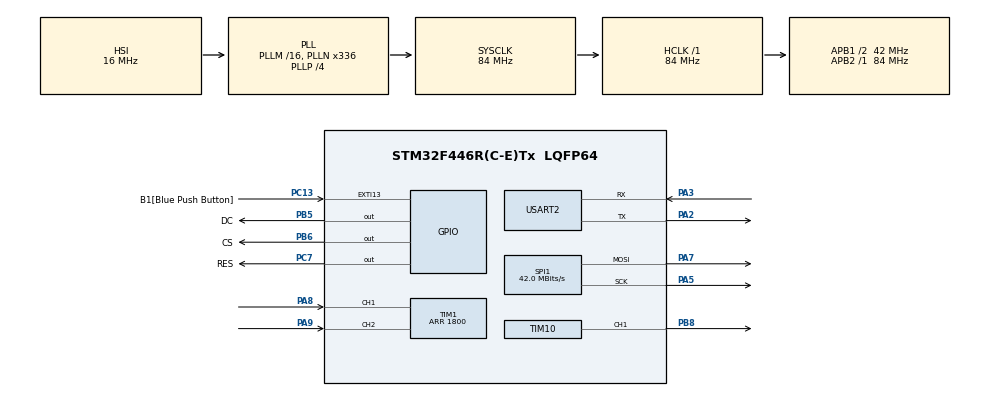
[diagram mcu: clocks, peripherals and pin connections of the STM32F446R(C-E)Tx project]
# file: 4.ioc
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Mcu.Family=STM32F4
Mcu.Name=STM32F446R(C-E)Tx
Mcu.Package=LQFP64
NVIC.PriorityGroup=NVIC_PRIORITYGROUP_0
PA13.Mode=Serial_Wire
PA13.Signal=SYS_JTMS-SWDIO
PA14.Mode=Serial_Wire
PA14.Signal=SYS_JTCK-SWCLK
PA2.Mode=Asynchronous
PA2.Signal=USART2_TX
PA3.Mode=Asynchronous
PA3.Signal=USART2_RX
PA5.Mode=TX_Only_Simplex_Unidirect_Master
PA5.Signal=SPI1_SCK
PA7.Mode=TX_Only_Simplex_Unidirect_Master
PA7.Signal=SPI1_MOSI
PA8.Signal=S_TIM1_CH1
PA9.Signal=S_TIM1_CH2
PB5.GPIO_Label=DC
PB5.Signal=GPIO_Output
PB6.GPIO_Label=CS
PB6.Signal=GPIO_Output
PB8.Signal=S_TIM10_CH1
PC13.GPIO_Label=B1[Blue Push Button]
PC13.GPIO_ModeDefaultEXTI=GPIO_MODE_IT_FALLING
PC13.Signal=GPXTI13
PC7.GPIO_Label=RES
PC7.Signal=GPIO_Output
PH0-OSC_IN.Mode=HSE-External-Oscillator
PH0-OSC_IN.Signal=RCC_OSC_IN
PH1-OSC_OUT.Mode=HSE-External-Oscillator
PH1-OSC_OUT.Signal=RCC_OSC_OUT
ProjectManager.HeapSize=0x200
ProjectManager.StackSize=0x400
ProjectManager.TargetToolchain=STM32CubeIDE
RCC.48MHZClocksFreq_Value=84000000
RCC.AHBFreq_Value=84000000
RCC.APB1CLKDivider=RCC_HCLK_DIV2
RCC.APB1Freq_Value=42000000
RCC.APB1TimFreq_Value=84000000
RCC.APB2Freq_Value=84000000
RCC.APB2TimFreq_Value=84000000
RCC.CortexFreq_Value=84000000
RCC.FLatency-AdvancedSettings=FLASH_LATENCY_2
RCC.HCLKFreq_Value=84000000
RCC.HSE_VALUE=8000000
RCC.HSI_VALUE=16000000
RCC.PLLN=336
RCC.PLLP=RCC_PLLP_DIV4
RCC.SYSCLKFreq_VALUE=84000000
RCC.SYSCLKSource=RCC_SYSCLKSOURCE_PLLCLK
RCC.USBFreq_Value=168000000
RCC.VCOOutputFreq_Value=336000000
SH.S_TIM10_CH1.0=TIM10_CH1,PWM Generation1 CH1
SH.S_TIM1_CH1.0=TIM1_CH1,Encoder_Interface
SH.S_TIM1_CH2.0=TIM1_CH2,Encoder_Interface
SPI1.CalculateBaudRate=42.0 MBits/s
SPI1.Direction=SPI_DIRECTION_2LINES
SPI1.Mode=SPI_MODE_MASTER
SPI1.VirtualType=VM_MASTER
TIM1.EncoderMode=TIM_ENCODERMODE_TI12
TIM1.IC1Filter=5
TIM1.IC2Filter=5
TIM1.Period=1800
TIM10.Channel=TIM_CHANNEL_1
TIM10.OCFastMode_PWM=TIM_OCFAST_ENABLE
TIM10.Period=18000
TIM10.Prescaler=1-1
TIM10.Pulse=9
USART2.VirtualMode=VM_ASYNC
VP_TIM10_VS_ClockSourceINT.Mode=Enable_Timer
board=NUCLEO-F446RE

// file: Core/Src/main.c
/* USER CODE BEGIN Header */
/**
  ******************************************************************************
  * @file           : main.c
  * @brief          : Main program body
  ******************************************************************************
  * @attention
  *
  * <h2><center>&copy; Copyright (c) 2020 STMicroelectronics.
  * All rights reserved.</center></h2>
  *
  * This software component is licensed by ST under BSD 3-Clause license,
  * the "License"; You may not use this file except in compliance with the
  * License. You may obtain a copy of the License at:
  *                        opensource.org/licenses/BSD-3-Clause
  *
  ******************************************************************************
  */
/* USER CODE END Header */

#include "main.h"

/* USER CODE BEGIN Includes */
#include "st7735.h"
#include "fonts.h"
#include <math.h>

/* USER CODE END Includes */

SPI_HandleTypeDef hspi1;

TIM_HandleTypeDef htim1;
TIM_HandleTypeDef htim10;

UART_HandleTypeDef huart2;

/* USER CODE BEGIN PV */
int nLoop = 0;
/* USER CODE END PV */

void SystemClock_Config(void);
static void MX_GPIO_Init(void);
static void MX_SPI1_Init(void);
static void MX_TIM1_Init(void);
static void MX_TIM10_Init(void);
static void MX_USART2_UART_Init(void);

int main(void)
{

  /* MCU Configuration--------------------------------------------------------*/

  /* Reset of all peripherals, Initializes the Flash interface and the Systick. */

	HAL_Init();

  /* Configure the system clock */
  SystemClock_Config();

  /* Initialize all configured peripherals */
  MX_GPIO_Init();
  MX_SPI1_Init();
  MX_TIM1_Init();
  MX_TIM10_Init();
  MX_USART2_UART_Init();
  HAL_TIM_PWM_Start(&htim10, TIM_CHANNEL_1);
    //HAL_TIM_Encoder_Start(&htim1, TIM_CHANNEL_1);
  HAL_TIM_Encoder_Start(&htim1, TIM_CHANNEL_1);
  /* USER CODE BEGIN 2 */
  ST7735_Init();
  ST7735_FillScreen(ST7735_BLACK);
  int duty = 40;
  int freq = 200;
  int printDD = 40;
  float mess = 40;
  float cycle = 0.0;
  float pwidth = 0.0;

  htim10.Instance->CCR1 = 40;
  htim10.Instance->ARR = freq;

  float realFreq = 84000/((htim10.Instance->ARR)+1);

  //uint8_t
  ST7735_FillRectangle(5, 8, 160, 30, ST7735_BLUE);
  ST7735_WriteString(7, 10, "Frequency=        kHz", Font_7x10, ST7735_WHITE, ST7735_BLUE);
  ST7735_WriteString(7, 25, "Pulse W. =         ns", Font_7x10, ST7735_WHITE, ST7735_BLUE);

  ST7735_WriteString(1, 45, "3.3v", Font_7x10, ST7735_YELLOW, ST7735_BLACK);
  ST7735_FillRectangle(2, 60, 1, 40, ST7735_RED);
  ST7735_FillRectangle(0, 100,5, 1, ST7735_RED);
  ST7735_FillRectangle(0, 60 ,5 ,1, ST7735_RED);

  ST7735_FillRectangle(10, 60, 1, 40,ST7735_WHITE );
  ST7735_FillRectangle(10, 60, 45, 1, ST7735_WHITE);
  //ST7735_FillRectangle(55, 70, 1, 40,ST7735_WHITE);
  ST7735_FillRectangle(55, 100, 50, 1, ST7735_WHITE);
  ST7735_FillRectangle(105, 60, 1, 40,ST7735_WHITE );
  ST7735_FillRectangle(105, 60, 20, 1, ST7735_WHITE);

  //ST7735_FillRectangle(10, 115, 45, 1, ST7735_CYAN);
  //ST7735_FillRectangle(10, 113, 1, 4, ST7735_CYAN);
  //ST7735_FillRectangle(55, 113, 1, 4, ST7735_CYAN);
  //ST7735_WriteString(26, 118, "1us", Font_7x10, ST7735_WHITE, ST7735_BLACK);

  ST7735_WriteString(35, 118, "Duty=      %", Font_7x10, ST7735_WHITE, ST7735_BLACK);

//  for(int y = ST7735_HEIGHT/2; y< ){
//
//  }
  bool press = true;
  /* USER CODE END 2 */

  /* Infinite loop */
  while (1)
  {
	  if(!(HAL_GPIO_ReadPin(GPIOC, GPIO_PIN_13))){
		  while(!(HAL_GPIO_ReadPin(GPIOC, GPIO_PIN_13)));

		  press = !press;

		  if(press){
			  TIM1->CNT = mess*4;
		  		  }else{
		  			TIM1->CNT =freq*4;
		  		  }
	  }

	  int EncVal = TIM1->CNT;

//	  	  if(EncVal==0){
//	  		  EncVal = 40;
//	  	  }

	  //HAL_GPIO_TogglePin(LD2_GPIO_Port, LD2_Pin); // PORTA, PA5

	  if(press == true){
		  mess = EncVal/4;
		  //duty = refactorScale(mess, 1, 100, 1, 180);
		  //int mess2 = EncVal/4;
		  //duty = (100*(printDD/(freq)));
		  //duty = duty%200;

		  duty = ((mess/freq)*100);
		  		  if (duty >100){
		  			  duty = 99;
		  			  //htim10.Instance->CCR1 = 1;
		  			TIM1->CNT = 1;
		  		  }else{

		  			  htim10.Instance->CCR1 = mess;
		  		  }

		  //

		  //UPPER LINES
		  ST7735_FillRectangle(10, 60, duty*0.92, 1, ST7735_WHITE);
		  ST7735_FillRectangle(11+(duty*0.92), 60, 95-(duty*0.92) , 1, ST7735_BLACK);
		  //DOWN LINES

		  ST7735_FillRectangle(11+(duty*0.92), 100, 95-(duty*0.92), 1, ST7735_WHITE);
		  ST7735_FillRectangle(10, 100, duty*0.92, 1, ST7735_BLACK);
		  //ST7735_FillRectangle(10, 110, duty*0.9, 1, ST7735_BLACK);
		 // ST7735_FillRectangle(11+(duty*0.9), 70, 95-(duty*0.9) , 1, ST7735_WHITE);

		  //VERTICAL LINE
		  ST7735_FillRectangle(10+(duty*0.92), 60, 1, 40,ST7735_WHITE);
		  ST7735_FillRectangle(9+(duty*0.92), 61, 1, 39,ST7735_BLACK);
		  //ST7735_FillRectangle(11+(duty*0.92), 71, 1, 39,ST7735_BLACK);
		  //ST7735_FillRectangle(9+(duty*0.94), 71, 1, 39,ST7735_BLACK);
		  ST7735_FillRectangle(11+(duty*0.94), 61, 1, 39,ST7735_BLACK);

		  //ST7735_FillRectangle(9+(duty*0.92), 71, 1, 39,ST7735_BLACK);

		  //ST7735_FillRectangle(11+(duty*0.95), 71, 1, 39,ST7735_BLACK);
		  ST7735_FillRectangle(101, 61, 2, 39,ST7735_BLACK);
		  ST7735_FillRectangle(10, 60, 1, 40,ST7735_WHITE );

		//  ST7735_FillRectangle(55, 110, 50, 1, ST7735_WHITE);

		  //Time
		  //ST7735_FillRectangle(10+(duty*0.92), 115, 45, 1, ST7735_CYAN);
		  ST7735_FillRectangle(10, 105, duty*0.92, 1, ST7735_CYAN);
		  //ST7735_FillRectangle(55, 113, 1, 4, ST7735_CYAN);
		  ST7735_FillRectangle(10+(duty*0.92), 103, 1,4,ST7735_CYAN);
		  ST7735_FillRectangle(9+(duty*0.92), 103, 1, 4,ST7735_BLACK);
		  ST7735_FillRectangle(11+(duty*0.92), 103, 1, 4,ST7735_BLACK);

		  ST7735_FillRectangle(102, 103, 2, 4,ST7735_BLACK);

		  ST7735_FillRectangle(10, 103, 1, 4, ST7735_CYAN);

		  ST7735_FillRectangle(11+(duty*0.92), 105, 95-(duty*0.92), 1, ST7735_BLACK);

		  //Final line
		  ST7735_FillRectangle(105, 60, 1, 40,ST7735_WHITE );

	  }else {

		  freq = EncVal/4;
		  htim10.Instance->ARR = freq ;
	  }

//	  HAL_Delay(500);
	  //nLoop++;
	  //itoa(EncVal,snum,10);
	  //int i = 247593;
	  realFreq = 84000.0/((htim10.Instance->ARR)+1);

	  char strEnc[6];
	  //print("{:0>8.4f}".format(2.02))
	  sprintf(strEnc, "%07.1f", realFreq);
	  //sprintf(strEnc,realFreq);
	  //"{:0>6.2f}".format(strEnc);
	  ST7735_WriteString(80, 10, strEnc, Font_7x10,
	  	                         ST7735_CYAN, ST7735_BLUE);
	  cycle = ((mess/freq)*100);

	  cycle = fmodf(cycle,100);

	  char strCycle[6];
	  sprintf(strCycle, "%0.2f", cycle);
	  ST7735_WriteString(75, 118, strCycle, Font_7x10, ST7735_CYAN, ST7735_BLACK);

	  pwidth =((mess)/84000)*1000000;
	 char stringCCR[7];

	 sprintf(stringCCR, "%07.2f", pwidth);
	 ST7735_WriteString(80, 25, stringCCR, Font_7x10,
	 	  	    	  	                         ST7735_CYAN, ST7735_BLUE);

//	 char stringARR[5];
//	 sprintf(stringARR,"%04d", freq );
//	 ST7735_WriteString(95, 40, stringARR, Font_7x10,
//	 	 	  	    	  	                         ST7735_RED, ST7735_BLUE);

	  	     // HAL_Delay(20);

//	  	      for(int x = 0; x < ST7735_WIDTH; x++) {
//	  	          ST7735_DrawPixel(x, 0, ST7735_RED);
//	  	          ST7735_DrawPixel(x, ST7735_HEIGHT-1, ST7735_RED);
//	  	      }
//
//	  	      for(int y = 0; y < ST7735_HEIGHT; y++) {
//	  	          ST7735_DrawPixel(0, y, ST7735_RED);
//	  	          ST7735_DrawPixel(ST7735_WIDTH-1, y, ST7735_RED);
//	  	      }
//
//	  	      HAL_Delay(3000);
//
//	  	      // Check fonts
//	  	      ST7735_FillScreen(ST7735_BLACK);
//	  	      ST7735_WriteString(0, 0, "Font_7x10", Font_7x10,
//	  	                         ST7735_RED, ST7735_BLACK);
//	  	      ST7735_WriteString(0, 3*10, "Font_11x18", Font_11x18,
//	  	                         ST7735_GREEN, ST7735_BLACK);
//	  	      ST7735_WriteString(0, 3*10+3*18, "Font_16x26", Font_16x26,
//	  	                         ST7735_BLUE, ST7735_BLACK);
//	  	      HAL_Delay(2000);
//
//	  	      // Check color inversion
//	  	      ST7735_InvertColors(true);
//	  	      HAL_Delay(2000);
//	  	      ST7735_InvertColors(false);
//	  	      HAL_Delay(2000);
//
//	  	      // Display test image
//	  	      //ST7735_DrawImage(0, 0, ST7735_WIDTH, ST7735_HEIGHT,test_img_128x128);
//	  	      HAL_Delay(15000);
  }
}

void SystemClock_Config(void)
{
  RCC_OscInitTypeDef RCC_OscInitStruct = {0};
  RCC_ClkInitTypeDef RCC_ClkInitStruct = {0};

  /** Configure the main internal regulator output voltage
  */
  __HAL_RCC_PWR_CLK_ENABLE();
  __HAL_PWR_VOLTAGESCALING_CONFIG(PWR_REGULATOR_VOLTAGE_SCALE3);
  /** Initializes the CPU, AHB and APB busses clocks
  */
  RCC_OscInitStruct.OscillatorType = RCC_OSCILLATORTYPE_HSI;
  RCC_OscInitStruct.HSIState = RCC_HSI_ON;
  RCC_OscInitStruct.HSICalibrationValue = RCC_HSICALIBRATION_DEFAULT;
  RCC_OscInitStruct.PLL.PLLState = RCC_PLL_ON;
  RCC_OscInitStruct.PLL.PLLSource = RCC_PLLSOURCE_HSI;
  RCC_OscInitStruct.PLL.PLLM = 16;
  RCC_OscInitStruct.PLL.PLLN = 336;
  RCC_OscInitStruct.PLL.PLLP = RCC_PLLP_DIV4;
  RCC_OscInitStruct.PLL.PLLQ = 2;
  RCC_OscInitStruct.PLL.PLLR = 2;
  if (HAL_RCC_OscConfig(&RCC_OscInitStruct) != HAL_OK)
  {
    Error_Handler();
  }
  /** Initializes the CPU, AHB and APB busses clocks
  */
  RCC_ClkInitStruct.ClockType = RCC_CLOCKTYPE_HCLK|RCC_CLOCKTYPE_SYSCLK
                              |RCC_CLOCKTYPE_PCLK1|RCC_CLOCKTYPE_PCLK2;
  RCC_ClkInitStruct.SYSCLKSource = RCC_SYSCLKSOURCE_PLLCLK;
  RCC_ClkInitStruct.AHBCLKDivider = RCC_SYSCLK_DIV1;
  RCC_ClkInitStruct.APB1CLKDivider = RCC_HCLK_DIV2;
  RCC_ClkInitStruct.APB2CLKDivider = RCC_HCLK_DIV1;

  if (HAL_RCC_ClockConfig(&RCC_ClkInitStruct, FLASH_LATENCY_2) != HAL_OK)
  {
    Error_Handler();
  }
}

static void MX_SPI1_Init(void)
{

  /* SPI1 parameter configuration*/
  hspi1.Instance = SPI1;
  hspi1.Init.Mode = SPI_MODE_MASTER;
  hspi1.Init.Direction = SPI_DIRECTION_2LINES;
  hspi1.Init.DataSize = SPI_DATASIZE_8BIT;
  hspi1.Init.CLKPolarity = SPI_POLARITY_LOW;
  hspi1.Init.CLKPhase = SPI_PHASE_1EDGE;
  hspi1.Init.NSS = SPI_NSS_SOFT;
  hspi1.Init.BaudRatePrescaler = SPI_BAUDRATEPRESCALER_2;
  hspi1.Init.FirstBit = SPI_FIRSTBIT_MSB;
  hspi1.Init.TIMode = SPI_TIMODE_DISABLE;
  hspi1.Init.CRCCalculation = SPI_CRCCALCULATION_DISABLE;
  hspi1.Init.CRCPolynomial = 10;
  if (HAL_SPI_Init(&hspi1) != HAL_OK)
  {
    Error_Handler();
  }

}

static void MX_TIM1_Init(void)
{

  TIM_Encoder_InitTypeDef sConfig = {0};
  TIM_MasterConfigTypeDef sMasterConfig = {0};

  htim1.Instance = TIM1;
  htim1.Init.Prescaler = 0;
  htim1.Init.CounterMode = TIM_COUNTERMODE_UP;
  htim1.Init.Period = 20000;
  htim1.Init.ClockDivision = TIM_CLOCKDIVISION_DIV1;
  htim1.Init.RepetitionCounter = 0;
  htim1.Init.AutoReloadPreload = TIM_AUTORELOAD_PRELOAD_DISABLE;
  sConfig.EncoderMode = TIM_ENCODERMODE_TI12;
  sConfig.IC1Polarity = TIM_ICPOLARITY_RISING;
  sConfig.IC1Selection = TIM_ICSELECTION_DIRECTTI;
  sConfig.IC1Prescaler = TIM_ICPSC_DIV1;
  sConfig.IC1Filter = 5;
  sConfig.IC2Polarity = TIM_ICPOLARITY_RISING;
  sConfig.IC2Selection = TIM_ICSELECTION_DIRECTTI;
  sConfig.IC2Prescaler = TIM_ICPSC_DIV1;
  sConfig.IC2Filter = 5;
  if (HAL_TIM_Encoder_Init(&htim1, &sConfig) != HAL_OK)
  {
    Error_Handler();
  }
  sMasterConfig.MasterOutputTrigger = TIM_TRGO_RESET;
  sMasterConfig.MasterSlaveMode = TIM_MASTERSLAVEMODE_DISABLE;
  if (HAL_TIMEx_MasterConfigSynchronization(&htim1, &sMasterConfig) != HAL_OK)
  {
    Error_Handler();
  }

}

static void MX_TIM10_Init(void)
{

  TIM_OC_InitTypeDef sConfigOC = {0};

  htim10.Instance = TIM10;
  htim10.Init.Prescaler = 1-1;
  htim10.Init.CounterMode = TIM_COUNTERMODE_UP;
  htim10.Init.Period = 5000;
  htim10.Init.ClockDivision = TIM_CLOCKDIVISION_DIV1;
  htim10.Init.AutoReloadPreload = TIM_AUTORELOAD_PRELOAD_DISABLE;
  if (HAL_TIM_Base_Init(&htim10) != HAL_OK)
  {
    Error_Handler();
  }
  if (HAL_TIM_PWM_Init(&htim10) != HAL_OK)
  {
    Error_Handler();
  }
  sConfigOC.OCMode = TIM_OCMODE_PWM1;
  sConfigOC.Pulse = 2;
  sConfigOC.OCPolarity = TIM_OCPOLARITY_HIGH;
  sConfigOC.OCFastMode = TIM_OCFAST_ENABLE;
  if (HAL_TIM_PWM_ConfigChannel(&htim10, &sConfigOC, TIM_CHANNEL_1) != HAL_OK)
  {
    Error_Handler();
  }
  HAL_TIM_MspPostInit(&htim10);

}

static void MX_USART2_UART_Init(void)
{

  huart2.Instance = USART2;
  huart2.Init.BaudRate = 115200;
  huart2.Init.WordLength = UART_WORDLENGTH_8B;
  huart2.Init.StopBits = UART_STOPBITS_1;
  huart2.Init.Parity = UART_PARITY_NONE;
  huart2.Init.Mode = UART_MODE_TX_RX;
  huart2.Init.HwFlowCtl = UART_HWCONTROL_NONE;
  huart2.Init.OverSampling = UART_OVERSAMPLING_16;
  if (HAL_UART_Init(&huart2) != HAL_OK)
  {
    Error_Handler();
  }

}

static void MX_GPIO_Init(void)
{
  GPIO_InitTypeDef GPIO_InitStruct = {0};

  /* GPIO Ports Clock Enable */
  __HAL_RCC_GPIOC_CLK_ENABLE();
  __HAL_RCC_GPIOH_CLK_ENABLE();
  __HAL_RCC_GPIOA_CLK_ENABLE();
  __HAL_RCC_GPIOB_CLK_ENABLE();

  /*Configure GPIO pin Output Level */
  HAL_GPIO_WritePin(RES_GPIO_Port, RES_Pin, GPIO_PIN_RESET);

  /*Configure GPIO pin Output Level */
  HAL_GPIO_WritePin(GPIOB, DC_Pin|CS_Pin, GPIO_PIN_RESET);

  /*Configure GPIO pin : B1_Pin */
  GPIO_InitStruct.Pin = B1_Pin;
  GPIO_InitStruct.Mode = GPIO_MODE_IT_FALLING;
  GPIO_InitStruct.Pull = GPIO_NOPULL;
  HAL_GPIO_Init(B1_GPIO_Port, &GPIO_InitStruct);

  /*Configure GPIO pin : RES_Pin */
  GPIO_InitStruct.Pin = RES_Pin;
  GPIO_InitStruct.Mode = GPIO_MODE_OUTPUT_PP;
  GPIO_InitStruct.Pull = GPIO_NOPULL;
  GPIO_InitStruct.Speed = GPIO_SPEED_FREQ_LOW;
  HAL_GPIO_Init(GPIOC, &GPIO_InitStruct);

  /*Configure GPIO pins : DC_Pin CS_Pin */
  GPIO_InitStruct.Pin = DC_Pin|CS_Pin;
  GPIO_InitStruct.Mode = GPIO_MODE_OUTPUT_PP;
  GPIO_InitStruct.Pull = GPIO_NOPULL;
  GPIO_InitStruct.Speed = GPIO_SPEED_FREQ_LOW;
  HAL_GPIO_Init(GPIOB, &GPIO_InitStruct);

}

void Error_Handler(void)
{
}

/************************ (C) COPYRIGHT STMicroelectronics *****END OF FILE****/
